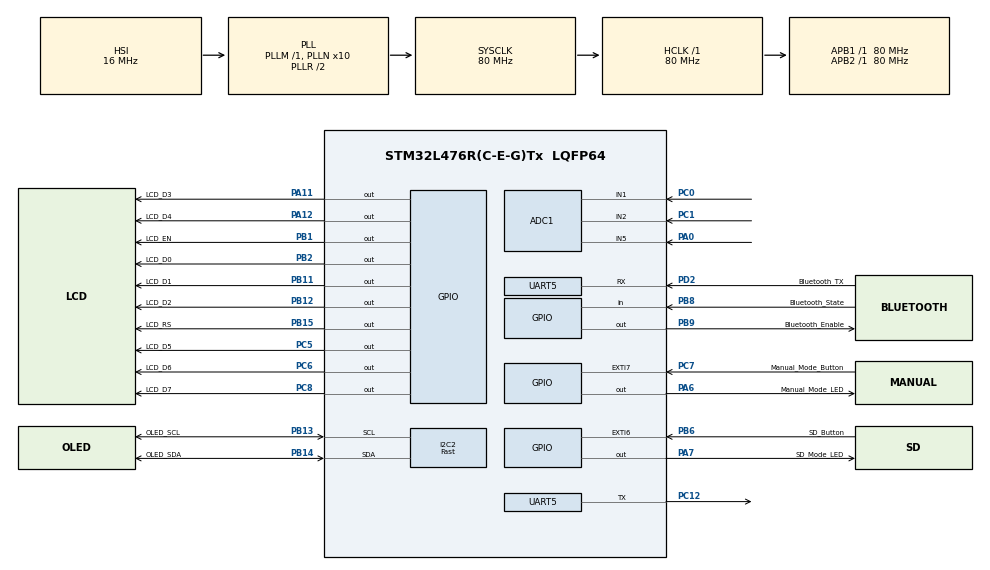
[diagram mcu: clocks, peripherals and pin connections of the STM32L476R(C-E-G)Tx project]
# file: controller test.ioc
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ADC1.Channel-0\#ChannelRegularConversion=ADC_CHANNEL_1
ADC1.Channel-1\#ChannelRegularConversion=ADC_CHANNEL_2
ADC1.Channel-2\#ChannelRegularConversion=ADC_CHANNEL_5
ADC1.ContinuousConvMode=ENABLE
ADC1.DMAContinuousRequests=ENABLE
ADC1.NbrOfConversion=3
ADC1.NbrOfConversionFlag=1
ADC1.OffsetNumber-0\#ChannelRegularConversion=ADC_OFFSET_NONE
ADC1.OffsetNumber-1\#ChannelRegularConversion=ADC_OFFSET_NONE
ADC1.OffsetNumber-2\#ChannelRegularConversion=ADC_OFFSET_NONE
ADC1.Rank-0\#ChannelRegularConversion=1
ADC1.Rank-1\#ChannelRegularConversion=2
ADC1.Rank-2\#ChannelRegularConversion=3
ADC1.SamplingTime-0\#ChannelRegularConversion=ADC_SAMPLETIME_92CYCLES_5
ADC1.SamplingTime-1\#ChannelRegularConversion=ADC_SAMPLETIME_92CYCLES_5
ADC1.SamplingTime-2\#ChannelRegularConversion=ADC_SAMPLETIME_92CYCLES_5
ADC1.master=1
Dma.ADC1.0.Direction=DMA_PERIPH_TO_MEMORY
Dma.ADC1.0.Instance=DMA1_Channel1
Dma.ADC1.0.MemDataAlignment=DMA_MDATAALIGN_HALFWORD
Dma.ADC1.0.MemInc=DMA_MINC_ENABLE
Dma.ADC1.0.Mode=DMA_CIRCULAR
Dma.ADC1.0.PeriphDataAlignment=DMA_PDATAALIGN_HALFWORD
Dma.ADC1.0.PeriphInc=DMA_PINC_DISABLE
Dma.ADC1.0.Priority=DMA_PRIORITY_LOW
Dma.Request0=ADC1
I2C2.I2C_Speed_Mode=I2C_Fast
I2C2.Timing=0x00F12981
Mcu.Family=STM32L4
Mcu.Name=STM32L476R(C-E-G)Tx
Mcu.Package=LQFP64
NVIC.DMA1_Channel1_IRQn=true\:0\:0\:false\:false\:true\:false\:true\:true
NVIC.EXTI9_5_IRQn=true\:0\:0\:false\:false\:true\:true\:true\:true
NVIC.PriorityGroup=NVIC_PRIORITYGROUP_4
NVIC.TIM6_DAC_IRQn=true\:0\:0\:false\:false\:true\:true\:true\:true
PA0.Signal=ADCx_IN5
PA11.GPIO_Label=LCD_D3
PA11.Signal=GPIO_Output
PA12.GPIO_Label=LCD_D4
PA12.Signal=GPIO_Output
PA6.GPIO_Label=Manual_Mode_LED
PA6.GPIO_PuPd=GPIO_PULLUP
PA6.Signal=GPIO_Output
PA7.GPIO_Label=SD_Mode_LED
PA7.GPIO_PuPd=GPIO_PULLUP
PA7.Signal=GPIO_Output
PB1.GPIO_Label=LCD_EN
PB1.Signal=GPIO_Output
PB11.GPIO_Label=LCD_D1
PB11.Signal=GPIO_Output
PB12.GPIO_Label=LCD_D2
PB12.Signal=GPIO_Output
PB13.GPIO_Label=OLED_SCL
PB13.Mode=I2C
PB13.Signal=I2C2_SCL
PB14.GPIO_Label=OLED_SDA
PB14.Mode=I2C
PB14.Signal=I2C2_SDA
PB15.GPIO_Label=LCD_RS
PB15.Signal=GPIO_Output
PB2.GPIO_Label=LCD_D0
PB2.Signal=GPIO_Output
PB6.GPIO_Label=SD_Button
PB6.Signal=GPXTI6
PB8.GPIO_Label=Bluetooth_State
PB8.Signal=GPIO_Input
PB9.GPIO_Label=Bluetooth_Enable
PB9.Signal=GPIO_Output
PC0.Signal=ADCx_IN1
PC1.Signal=ADCx_IN2
PC12.Mode=Asynchronous
PC12.Signal=UART5_TX
PC5.GPIO_Label=LCD_D5
PC5.Signal=GPIO_Output
PC6.GPIO_Label=LCD_D6
PC6.Signal=GPIO_Output
PC7.GPIO_Label=Manual_Mode_Button
PC7.Signal=GPXTI7
PC8.GPIO_Label=LCD_D7
PC8.Signal=GPIO_Output
PD2.GPIO_Label=Bluetooth_TX
PD2.Mode=Asynchronous
PD2.Signal=UART5_RX
ProjectManager.HeapSize=0x200
ProjectManager.StackSize=0x400
ProjectManager.TargetToolchain=STM32CubeIDE
RCC.ADCFreq_Value=64000000
RCC.AHBFreq_Value=80000000
RCC.APB1Freq_Value=80000000
RCC.APB1TimFreq_Value=80000000
RCC.APB2Freq_Value=80000000
RCC.APB2TimFreq_Value=80000000
RCC.CortexFreq_Value=80000000
RCC.HCLKFreq_Value=80000000
RCC.HSE_VALUE=8000000
RCC.HSI_VALUE=16000000
RCC.LSE_VALUE=32768
RCC.MSI_VALUE=4000000
RCC.PLLN=10
RCC.PLLSourceVirtual=RCC_PLLSOURCE_HSI
RCC.PREFETCH_ENABLE=1
RCC.SYSCLKFreq_VALUE=80000000
RCC.SYSCLKSource=RCC_SYSCLKSOURCE_PLLCLK
RCC.USBFreq_Value=64000000
RCC.VCOOutputFreq_Value=160000000
SH.ADCx_IN1.0=ADC1_IN1,IN1-Single-Ended
SH.ADCx_IN2.0=ADC1_IN2,IN2-Single-Ended
SH.ADCx_IN5.0=ADC1_IN5,IN5-Single-Ended
TIM3.AutoReloadPreload=TIM_AUTORELOAD_PRELOAD_ENABLE
TIM3.Period=3999
TIM4.AutoReloadPreload=TIM_AUTORELOAD_PRELOAD_ENABLE
TIM4.Period=3999
TIM6.AutoReloadPreload=TIM_AUTORELOAD_PRELOAD_DISABLE
TIM6.Period=99
TIM6.Prescaler=7999
UART5.BaudRate=2000000
VP_TIM3_VS_ClockSourceINT.Mode=Internal
VP_TIM4_VS_ClockSourceINT.Mode=Internal
VP_TIM6_VS_ClockSourceINT.Mode=Enable_Timer
board=NUCLEO-L476RG

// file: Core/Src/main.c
/* USER CODE BEGIN Header */
/**
  ******************************************************************************
  * @file           : main.c
  * @brief          : Main program body
  ******************************************************************************
  * @attention
  *
  * Copyright (c) 2025 STMicroelectronics.
  * All rights reserved.
  *
  * This software is licensed under terms that can be found in the LICENSE file
  * in the root directory of this software component.
  * If no LICENSE file comes with this software, it is provided AS-IS.
  *
  ******************************************************************************
  */
/* USER CODE END Header */
#include "main.h"

/* USER CODE BEGIN Includes */
#include "ssd1306.h"

/* USER CODE END Includes */

ADC_HandleTypeDef hadc1;
DMA_HandleTypeDef hdma_adc1;

I2C_HandleTypeDef hi2c2;

TIM_HandleTypeDef htim3;
TIM_HandleTypeDef htim4;
TIM_HandleTypeDef htim6;

UART_HandleTypeDef huart5;

/* USER CODE BEGIN PV */
uint16_t adc_buf[3];
volatile uint8_t drive_mode = 0;
volatile uint32_t last_button_press = 0;  // For debouncing

/* USER CODE END PV */

void SystemClock_Config(void);
static void MX_GPIO_Init(void);
static void MX_DMA_Init(void);
static void MX_ADC1_Init(void);
static void MX_TIM3_Init(void);
static void MX_TIM6_Init(void);
static void MX_TIM4_Init(void);
static void MX_UART5_Init(void);
static void MX_I2C2_Init(void);
/* USER CODE BEGIN PFP */
void Read_ADC(void);

volatile uint16_t joyX, joyY, pot;
char txBuf[32];

/* USER CODE END PFP */

int main(void)
{

  /* MCU Configuration--------------------------------------------------------*/

  /* Reset of all peripherals, Initializes the Flash interface and the Systick. */
  HAL_Init();

  /* Configure the system clock */
  SystemClock_Config();

  /* Initialize all configured peripherals */
  MX_GPIO_Init();
  MX_DMA_Init();
  MX_ADC1_Init();
  MX_TIM3_Init();
  MX_TIM6_Init();
  MX_TIM4_Init();
  MX_UART5_Init();
  MX_I2C2_Init();
  /* USER CODE BEGIN 2 */

  // I2C //
SSD1306_Init();
SSD1306_InvertDisplay(0); // inverts the display i = 1->inverted, i = 0->normal

// GPIO //
//LCD_Init();
//LCD_Clear();
HAL_GPIO_WritePin(GPIOA, Manual_Mode_LED_Pin, GPIO_PIN_RESET);
HAL_GPIO_WritePin(GPIOA, SD_Mode_LED_Pin, GPIO_PIN_SET);
Create_Custom_Characters();

MX_ADC1_Init();

    if (HAL_ADCEx_Calibration_Start(&hadc1, ADC_SINGLE_ENDED) != HAL_OK)
    {
        while(1) { __NOP(); }
    }
    if (HAL_ADC_Start_DMA(&hadc1, (uint32_t*)adc_buf, 3) != HAL_OK)
    {
         while(1) { __NOP(); }
    }

  /* USER CODE END 2 */

  /* Infinite loop */
  while (1)
  {

  }
}

void SystemClock_Config(void)
{
  RCC_OscInitTypeDef RCC_OscInitStruct = {0};
  RCC_ClkInitTypeDef RCC_ClkInitStruct = {0};

  /** Configure the main internal regulator output voltage
  */
  if (HAL_PWREx_ControlVoltageScaling(PWR_REGULATOR_VOLTAGE_SCALE1) != HAL_OK)
  {
    Error_Handler();
  }

  /** Initializes the RCC Oscillators according to the specified parameters
  * in the RCC_OscInitTypeDef structure.
  */
  RCC_OscInitStruct.OscillatorType = RCC_OSCILLATORTYPE_HSI;
  RCC_OscInitStruct.HSIState = RCC_HSI_ON;
  RCC_OscInitStruct.HSICalibrationValue = RCC_HSICALIBRATION_DEFAULT;
  RCC_OscInitStruct.PLL.PLLState = RCC_PLL_ON;
  RCC_OscInitStruct.PLL.PLLSource = RCC_PLLSOURCE_HSI;
  RCC_OscInitStruct.PLL.PLLM = 1;
  RCC_OscInitStruct.PLL.PLLN = 10;
  RCC_OscInitStruct.PLL.PLLP = RCC_PLLP_DIV7;
  RCC_OscInitStruct.PLL.PLLQ = RCC_PLLQ_DIV2;
  RCC_OscInitStruct.PLL.PLLR = RCC_PLLR_DIV2;
  if (HAL_RCC_OscConfig(&RCC_OscInitStruct) != HAL_OK)
  {
    Error_Handler();
  }

  /** Initializes the CPU, AHB and APB buses clocks
  */
  RCC_ClkInitStruct.ClockType = RCC_CLOCKTYPE_HCLK|RCC_CLOCKTYPE_SYSCLK
                              |RCC_CLOCKTYPE_PCLK1|RCC_CLOCKTYPE_PCLK2;
  RCC_ClkInitStruct.SYSCLKSource = RCC_SYSCLKSOURCE_PLLCLK;
  RCC_ClkInitStruct.AHBCLKDivider = RCC_SYSCLK_DIV1;
  RCC_ClkInitStruct.APB1CLKDivider = RCC_HCLK_DIV1;
  RCC_ClkInitStruct.APB2CLKDivider = RCC_HCLK_DIV1;

  if (HAL_RCC_ClockConfig(&RCC_ClkInitStruct, FLASH_LATENCY_4) != HAL_OK)
  {
    Error_Handler();
  }
}

static void MX_ADC1_Init(void)
{

  ADC_MultiModeTypeDef multimode = {0};
  ADC_ChannelConfTypeDef sConfig = {0};

  /** Common config
  */
  hadc1.Instance = ADC1;
  hadc1.Init.ClockPrescaler = ADC_CLOCK_ASYNC_DIV1;
  hadc1.Init.Resolution = ADC_RESOLUTION_12B;
  hadc1.Init.DataAlign = ADC_DATAALIGN_RIGHT;
  hadc1.Init.ScanConvMode = ADC_SCAN_ENABLE;
  hadc1.Init.EOCSelection = ADC_EOC_SINGLE_CONV;
  hadc1.Init.LowPowerAutoWait = DISABLE;
  hadc1.Init.ContinuousConvMode = ENABLE;
  hadc1.Init.NbrOfConversion = 3;
  hadc1.Init.DiscontinuousConvMode = DISABLE;
  hadc1.Init.ExternalTrigConv = ADC_SOFTWARE_START;
  hadc1.Init.ExternalTrigConvEdge = ADC_EXTERNALTRIGCONVEDGE_NONE;
  hadc1.Init.DMAContinuousRequests = ENABLE;
  hadc1.Init.Overrun = ADC_OVR_DATA_PRESERVED;
  hadc1.Init.OversamplingMode = DISABLE;
  if (HAL_ADC_Init(&hadc1) != HAL_OK)
  {
    Error_Handler();
  }

  /** Configure the ADC multi-mode
  */
  multimode.Mode = ADC_MODE_INDEPENDENT;
  if (HAL_ADCEx_MultiModeConfigChannel(&hadc1, &multimode) != HAL_OK)
  {
    Error_Handler();
  }

  /** Configure Regular Channel
  */
  sConfig.Channel = ADC_CHANNEL_1;
  sConfig.Rank = ADC_REGULAR_RANK_1;
  sConfig.SamplingTime = ADC_SAMPLETIME_92CYCLES_5;
  sConfig.SingleDiff = ADC_SINGLE_ENDED;
  sConfig.OffsetNumber = ADC_OFFSET_NONE;
  sConfig.Offset = 0;
  if (HAL_ADC_ConfigChannel(&hadc1, &sConfig) != HAL_OK)
  {
    Error_Handler();
  }

  /** Configure Regular Channel
  */
  sConfig.Channel = ADC_CHANNEL_2;
  sConfig.Rank = ADC_REGULAR_RANK_2;
  if (HAL_ADC_ConfigChannel(&hadc1, &sConfig) != HAL_OK)
  {
    Error_Handler();
  }

  /** Configure Regular Channel
  */
  sConfig.Channel = ADC_CHANNEL_5;
  sConfig.Rank = ADC_REGULAR_RANK_3;
  if (HAL_ADC_ConfigChannel(&hadc1, &sConfig) != HAL_OK)
  {
    Error_Handler();
  }

}

static void MX_I2C2_Init(void)
{

  hi2c2.Instance = I2C2;
  hi2c2.Init.Timing = 0x00F12981;
  hi2c2.Init.OwnAddress1 = 0;
  hi2c2.Init.AddressingMode = I2C_ADDRESSINGMODE_7BIT;
  hi2c2.Init.DualAddressMode = I2C_DUALADDRESS_DISABLE;
  hi2c2.Init.OwnAddress2 = 0;
  hi2c2.Init.OwnAddress2Masks = I2C_OA2_NOMASK;
  hi2c2.Init.GeneralCallMode = I2C_GENERALCALL_DISABLE;
  hi2c2.Init.NoStretchMode = I2C_NOSTRETCH_DISABLE;
  if (HAL_I2C_Init(&hi2c2) != HAL_OK)
  {
    Error_Handler();
  }

  /** Configure Analogue filter
  */
  if (HAL_I2CEx_ConfigAnalogFilter(&hi2c2, I2C_ANALOGFILTER_ENABLE) != HAL_OK)
  {
    Error_Handler();
  }

  /** Configure Digital filter
  */
  if (HAL_I2CEx_ConfigDigitalFilter(&hi2c2, 0) != HAL_OK)
  {
    Error_Handler();
  }

}

static void MX_TIM3_Init(void)
{

  TIM_ClockConfigTypeDef sClockSourceConfig = {0};
  TIM_MasterConfigTypeDef sMasterConfig = {0};

  htim3.Instance = TIM3;
  htim3.Init.Prescaler = 0;
  htim3.Init.CounterMode = TIM_COUNTERMODE_UP;
  htim3.Init.Period = 3999;
  htim3.Init.ClockDivision = TIM_CLOCKDIVISION_DIV1;
  htim3.Init.AutoReloadPreload = TIM_AUTORELOAD_PRELOAD_ENABLE;
  if (HAL_TIM_Base_Init(&htim3) != HAL_OK)
  {
    Error_Handler();
  }
  sClockSourceConfig.ClockSource = TIM_CLOCKSOURCE_INTERNAL;
  if (HAL_TIM_ConfigClockSource(&htim3, &sClockSourceConfig) != HAL_OK)
  {
    Error_Handler();
  }
  sMasterConfig.MasterOutputTrigger = TIM_TRGO_RESET;
  sMasterConfig.MasterSlaveMode = TIM_MASTERSLAVEMODE_DISABLE;
  if (HAL_TIMEx_MasterConfigSynchronization(&htim3, &sMasterConfig) != HAL_OK)
  {
    Error_Handler();
  }

}

static void MX_TIM4_Init(void)
{

  TIM_ClockConfigTypeDef sClockSourceConfig = {0};
  TIM_MasterConfigTypeDef sMasterConfig = {0};

  htim4.Instance = TIM4;
  htim4.Init.Prescaler = 0;
  htim4.Init.CounterMode = TIM_COUNTERMODE_UP;
  htim4.Init.Period = 3999;
  htim4.Init.ClockDivision = TIM_CLOCKDIVISION_DIV1;
  htim4.Init.AutoReloadPreload = TIM_AUTORELOAD_PRELOAD_ENABLE;
  if (HAL_TIM_Base_Init(&htim4) != HAL_OK)
  {
    Error_Handler();
  }
  sClockSourceConfig.ClockSource = TIM_CLOCKSOURCE_INTERNAL;
  if (HAL_TIM_ConfigClockSource(&htim4, &sClockSourceConfig) != HAL_OK)
  {
    Error_Handler();
  }
  sMasterConfig.MasterOutputTrigger = TIM_TRGO_RESET;
  sMasterConfig.MasterSlaveMode = TIM_MASTERSLAVEMODE_DISABLE;
  if (HAL_TIMEx_MasterConfigSynchronization(&htim4, &sMasterConfig) != HAL_OK)
  {
    Error_Handler();
  }

}

static void MX_TIM6_Init(void)
{

  TIM_MasterConfigTypeDef sMasterConfig = {0};

  htim6.Instance = TIM6;
  htim6.Init.Prescaler = 7999;
  htim6.Init.CounterMode = TIM_COUNTERMODE_UP;
  htim6.Init.Period = 99;
  htim6.Init.AutoReloadPreload = TIM_AUTORELOAD_PRELOAD_DISABLE;
  if (HAL_TIM_Base_Init(&htim6) != HAL_OK)
  {
    Error_Handler();
  }
  sMasterConfig.MasterOutputTrigger = TIM_TRGO_RESET;
  sMasterConfig.MasterSlaveMode = TIM_MASTERSLAVEMODE_DISABLE;
  if (HAL_TIMEx_MasterConfigSynchronization(&htim6, &sMasterConfig) != HAL_OK)
  {
    Error_Handler();
  }

}

static void MX_UART5_Init(void)
{

  huart5.Instance = UART5;
  huart5.Init.BaudRate = 460800;
  huart5.Init.WordLength = UART_WORDLENGTH_8B;
  huart5.Init.StopBits = UART_STOPBITS_1;
  huart5.Init.Parity = UART_PARITY_NONE;
  huart5.Init.Mode = UART_MODE_TX_RX;
  huart5.Init.HwFlowCtl = UART_HWCONTROL_NONE;
  huart5.Init.OverSampling = UART_OVERSAMPLING_16;
  huart5.Init.OneBitSampling = UART_ONE_BIT_SAMPLE_DISABLE;
  huart5.AdvancedInit.AdvFeatureInit = UART_ADVFEATURE_NO_INIT;
  if (HAL_UART_Init(&huart5) != HAL_OK)
  {
    Error_Handler();
  }

}

static void MX_DMA_Init(void)
{

  /* DMA controller clock enable */
  __HAL_RCC_DMA1_CLK_ENABLE();

  /* DMA interrupt init */
  /* DMA1_Channel1_IRQn interrupt configuration */
  HAL_NVIC_SetPriority(DMA1_Channel1_IRQn, 0, 0);
  HAL_NVIC_EnableIRQ(DMA1_Channel1_IRQn);

}

static void MX_GPIO_Init(void)
{
  GPIO_InitTypeDef GPIO_InitStruct = {0};

  /* GPIO Ports Clock Enable */
  __HAL_RCC_GPIOC_CLK_ENABLE();
  __HAL_RCC_GPIOA_CLK_ENABLE();
  __HAL_RCC_GPIOB_CLK_ENABLE();
  __HAL_RCC_GPIOD_CLK_ENABLE();

  /*Configure GPIO pin Output Level */
  HAL_GPIO_WritePin(GPIOA, Manual_Mode_LED_Pin|SD_Mode_LED_Pin|LCD_D3_Pin|LCD_D4_Pin, GPIO_PIN_RESET);

  /*Configure GPIO pin Output Level */
  HAL_GPIO_WritePin(GPIOC, LCD_D5_Pin|LCD_D6_Pin|LCD_D7_Pin, GPIO_PIN_RESET);

  /*Configure GPIO pin Output Level */
  HAL_GPIO_WritePin(GPIOB, LCD_EN_Pin|LCD_D0_Pin|LCD_D1_Pin|LCD_D2_Pin
                          |LCD_RS_Pin|Bluetooth_Enable_Pin, GPIO_PIN_RESET);

  /*Configure GPIO pins : Manual_Mode_LED_Pin SD_Mode_LED_Pin */
  GPIO_InitStruct.Pin = Manual_Mode_LED_Pin|SD_Mode_LED_Pin;
  GPIO_InitStruct.Mode = GPIO_MODE_OUTPUT_PP;
  GPIO_InitStruct.Pull = GPIO_PULLUP;
  GPIO_InitStruct.Speed = GPIO_SPEED_FREQ_LOW;
  HAL_GPIO_Init(GPIOA, &GPIO_InitStruct);

  /*Configure GPIO pins : LCD_D5_Pin LCD_D6_Pin LCD_D7_Pin */
  GPIO_InitStruct.Pin = LCD_D5_Pin|LCD_D6_Pin|LCD_D7_Pin;
  GPIO_InitStruct.Mode = GPIO_MODE_OUTPUT_PP;
  GPIO_InitStruct.Pull = GPIO_NOPULL;
  GPIO_InitStruct.Speed = GPIO_SPEED_FREQ_LOW;
  HAL_GPIO_Init(GPIOC, &GPIO_InitStruct);

  /*Configure GPIO pins : LCD_EN_Pin LCD_D0_Pin LCD_D1_Pin LCD_D2_Pin
                           LCD_RS_Pin Bluetooth_Enable_Pin */
  GPIO_InitStruct.Pin = LCD_EN_Pin|LCD_D0_Pin|LCD_D1_Pin|LCD_D2_Pin
                          |LCD_RS_Pin|Bluetooth_Enable_Pin;
  GPIO_InitStruct.Mode = GPIO_MODE_OUTPUT_PP;
  GPIO_InitStruct.Pull = GPIO_NOPULL;
  GPIO_InitStruct.Speed = GPIO_SPEED_FREQ_LOW;
  HAL_GPIO_Init(GPIOB, &GPIO_InitStruct);

  /*Configure GPIO pin : Manual_Mode_Button_Pin */
  GPIO_InitStruct.Pin = Manual_Mode_Button_Pin;
  GPIO_InitStruct.Mode = GPIO_MODE_IT_RISING;
  GPIO_InitStruct.Pull = GPIO_NOPULL;
  HAL_GPIO_Init(Manual_Mode_Button_GPIO_Port, &GPIO_InitStruct);

  /*Configure GPIO pins : LCD_D3_Pin LCD_D4_Pin */
  GPIO_InitStruct.Pin = LCD_D3_Pin|LCD_D4_Pin;
  GPIO_InitStruct.Mode = GPIO_MODE_OUTPUT_PP;
  GPIO_InitStruct.Pull = GPIO_NOPULL;
  GPIO_InitStruct.Speed = GPIO_SPEED_FREQ_LOW;
  HAL_GPIO_Init(GPIOA, &GPIO_InitStruct);

  /*Configure GPIO pin : SD_Button_Pin */
  GPIO_InitStruct.Pin = SD_Button_Pin;
  GPIO_InitStruct.Mode = GPIO_MODE_IT_RISING;
  GPIO_InitStruct.Pull = GPIO_NOPULL;
  HAL_GPIO_Init(SD_Button_GPIO_Port, &GPIO_InitStruct);

  /*Configure GPIO pin : Bluetooth_State_Pin */
  GPIO_InitStruct.Pin = Bluetooth_State_Pin;
  GPIO_InitStruct.Mode = GPIO_MODE_INPUT;
  GPIO_InitStruct.Pull = GPIO_NOPULL;
  HAL_GPIO_Init(Bluetooth_State_GPIO_Port, &GPIO_InitStruct);

  /* EXTI interrupt init*/
  HAL_NVIC_SetPriority(EXTI9_5_IRQn, 0, 0);
  HAL_NVIC_EnableIRQ(EXTI9_5_IRQn);

}

/* USER CODE BEGIN 4 */

void HAL_GPIO_EXTI_Callback(uint16_t GPIO_Pin)
{
    if (GPIO_Pin == Manual_Mode_Button_Pin)
    {
        // Debouncing: Only toggle if 200ms has passed since last press
        uint32_t current_time = HAL_GetTick();
        if ((current_time - last_button_press) > 50)
        {
            drive_mode = 1;  // Toggle between 0 and 1
            last_button_press = current_time;
            HAL_GPIO_WritePin(GPIOA, Manual_Mode_LED_Pin, GPIO_PIN_SET);
            HAL_GPIO_WritePin(GPIOA, SD_Mode_LED_Pin, GPIO_PIN_RESET);
        }
    }
    else if (GPIO_Pin == SD_Button_Pin){
		uint32_t current_time = HAL_GetTick();
		if ((current_time - last_button_press) > 50)
		{
			drive_mode = 0;  // Toggle between 0 and 1
			last_button_press = current_time;
			HAL_GPIO_WritePin(GPIOA, Manual_Mode_LED_Pin, GPIO_PIN_RESET);
			HAL_GPIO_WritePin(GPIOA, SD_Mode_LED_Pin, GPIO_PIN_SET);
		}
    }
}

void HAL_ADC_ConvCpltCallback(ADC_HandleTypeDef* hadc)
{
    joyX = adc_buf[0];
    joyY = adc_buf[1];
    pot = adc_buf[2];

    // Format: X,Y,POT\n
    sprintf(txBuf, "%d,%d,%d,%d\n", joyX, joyY, pot, drive_mode);

    //LCD_DisplaySeeker(pot, drive_mode);
	//OLED_DisplayDirection(joyX, joyX);
    OLED_DisplaySpeed(pot, drive_mode);
    HAL_UART_Transmit(&huart5, (uint8_t*)txBuf, strlen(txBuf), 10);

}
/* USER CODE END 4 */

void Error_Handler(void)
{
  __disable_irq();
  while (1)
  {
  }
}
